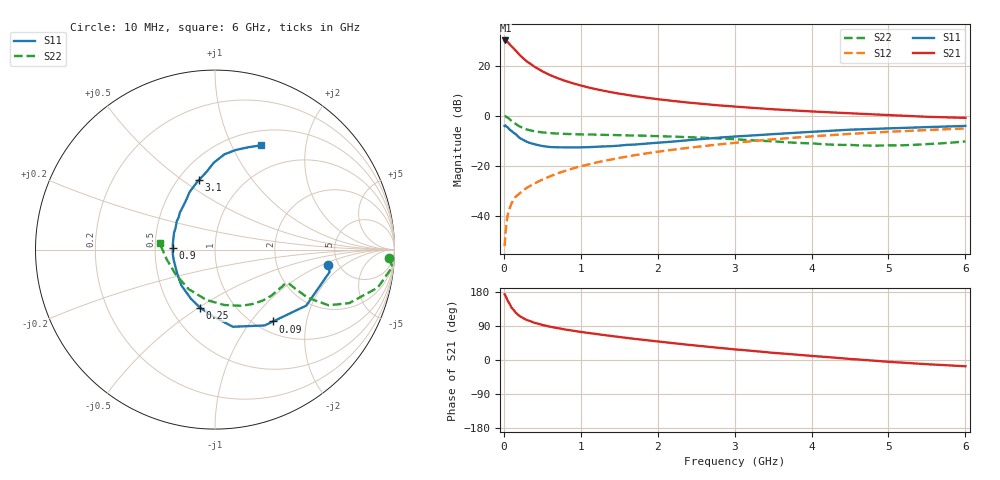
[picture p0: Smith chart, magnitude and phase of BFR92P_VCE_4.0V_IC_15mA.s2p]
! Infineon Technologies  Discrete & RF Semiconductors
! BFR92P
! VCE =  4.0 V,  IC =  15 mA
! Common Emitter S-Parameters:  Apr 2014
# GHz  S  MA  R  50
!  f  S11  S21  S12  S22
! GHz  MAG  ANG  MAG  ANG  MAG  ANG  MAG  ANG
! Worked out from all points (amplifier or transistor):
!   77 points, 10 MHz to 6 GHz, reference 50 ohm
!   highest |S21| = 30.2 dB at 20 MHz (marker M1)
!   |S21| within 3 dB of that: start of sweep to 121.9 MHz
!   unconditionally stable (mu >= 1): 571.9 MHz to 2.362 GHz
!   at 130 MHz: K = 0.48, MSG = 30.1 dB, |S12| = -33.3 dB
!   at 2.2 GHz: K = 1.01, MAG = 9.1 dB, |S12| = -13.5 dB
!   at 6 GHz: K = 0.87, MSG = 2.1 dB, |S12| = -4.9 dB
!   S11 on the Smith chart (normalised r, x): 10 MHz: 4.10, -1.18; 90 MHz: 1.19, -1.29; 250 MHz: 0.70, -0.51; 900 MHz: 0.62, +0.01; 3.1 GHz: 0.63, +0.58; 6 GHz: 0.67, +1.31
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0.01  0.6332 -7.8  32.09 173.4  0.0025 91.6  0.9715 -2.8
0.02  0.6508 -11.0  32.5 170.1  0.0043 81.8  0.9931 -5.6
0.05  0.5968 -31.5  30.3 156.7  0.0104 76.5  0.9306 -13.2
0.09  0.5145 -51.1  25.81 142.3  0.0164 70.3  0.8292 -19.8
0.1  0.5051 -56.8  24.99 138.0  0.0179 69.4  0.8058 -21.7
0.15  0.4413 -77.0  20.73 126.0  0.024 66.5  0.7055 -26.1
0.2  0.3703 -92.1  17.01 116.7  0.028 65.0  0.6259 -26.9
0.25  0.3346 -104.2  14.37 110.7  0.0326 65.4  0.5779 -27.4
0.3  0.3053 -115.9  12.36 105.3  0.0368 66.1  0.5381 -26.7
0.4  0.2736 -133.3  9.637 98.0  0.0449 67.8  0.4947 -25.9
0.5  0.2518 -145.8  7.845 92.6  0.0535 68.7  0.4718 -25.2
0.6  0.2403 -156.7  6.606 88.0  0.0622 69.7  0.4563 -24.8
0.7  0.2371 -165.8  5.714 84.1  0.0717 69.9  0.4472 -24.9
0.8  0.2366 -174.1  5.031 80.5  0.0803 70.2  0.4398 -25.5
0.9  0.2359 178.3  4.516 77.2  0.09 70.3  0.4341 -26.4
1.1  0.2386 167.2  3.733 71.4  0.1077 69.4  0.4281 -28.6
1.5  0.2562 147.9  2.808 60.8  0.1454 67.3  0.4149 -34.3
2.1  0.3004 126.1  2.088 46.7  0.2027 62.4  0.3925 -44.9
3.1  0.3978 102.9  1.511 26.4  0.3011 52.1  0.3363 -68.1
4.1  0.4932 89.5  1.216 9.3  0.4014 40.4  0.2767 -104.2
5.1  0.5735 76.8  1.03 -6.0  0.4924 27.0  0.2593 -151.9
6  0.6351 66.1  0.921 -16.6  0.5661 14.8  0.3104 173.4
